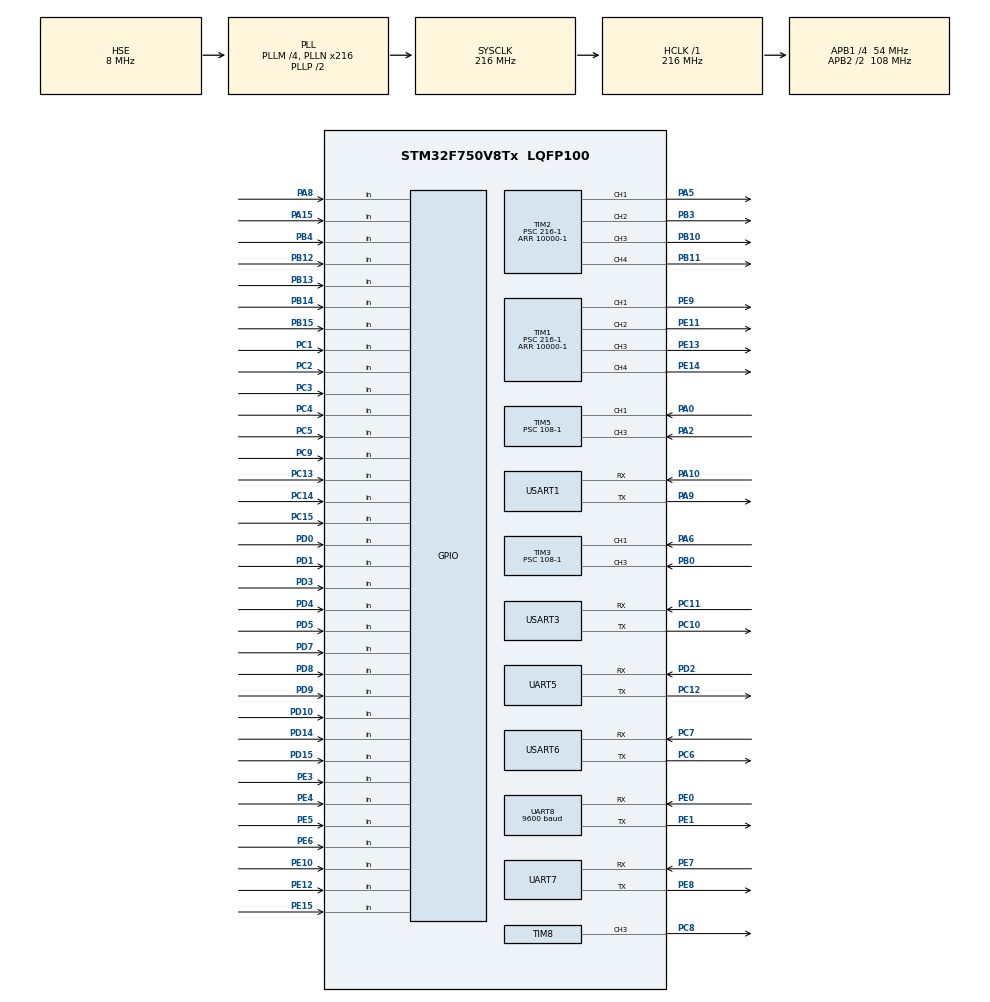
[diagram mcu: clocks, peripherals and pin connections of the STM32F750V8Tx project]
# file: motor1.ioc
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Mcu.Family=STM32F7
Mcu.Name=STM32F750V8Tx
Mcu.Package=LQFP100
NVIC.PriorityGroup=NVIC_PRIORITYGROUP_4
NVIC.TIM3_IRQn=true\:2\:0\:true\:false\:true\:true\:true\:true
NVIC.TIM5_IRQn=true\:2\:0\:true\:false\:true\:true\:true\:true
NVIC.TIM6_DAC_IRQn=true\:2\:0\:true\:false\:true\:true\:true\:true
NVIC.UART5_IRQn=true\:1\:0\:true\:false\:true\:true\:true\:true
NVIC.UART7_IRQn=true\:0\:0\:false\:false\:true\:true\:true\:true
NVIC.UART8_IRQn=true\:0\:0\:false\:false\:true\:true\:true\:true
NVIC.USART1_IRQn=true\:2\:0\:true\:false\:true\:true\:true\:true
NVIC.USART3_IRQn=true\:0\:0\:false\:false\:true\:true\:true\:true
NVIC.USART6_IRQn=true\:1\:0\:true\:false\:true\:true\:true\:true
PA0/WKUP.GPIO_PuPd=GPIO_PULLDOWN
PA0/WKUP.Signal=S_TIM5_CH1
PA10.Mode=Asynchronous
PA10.Signal=USART1_RX
PA13.Mode=Serial_Wire
PA13.Signal=SYS_JTMS-SWDIO
PA14.Mode=Serial_Wire
PA14.Signal=SYS_JTCK-SWCLK
PA15.Signal=GPIO_Input
PA2.GPIO_PuPd=GPIO_PULLDOWN
PA2.Signal=S_TIM5_CH3
PA5.Signal=S_TIM2_CH1_ETR
PA6.GPIO_PuPd=GPIO_PULLDOWN
PA6.Signal=S_TIM3_CH1
PA8.Signal=GPIO_Input
PA9.Mode=Asynchronous
PA9.Signal=USART1_TX
PB0.Signal=S_TIM3_CH3
PB10.Signal=S_TIM2_CH3
PB11.Signal=S_TIM2_CH4
PB12.Signal=GPIO_Input
PB13.Signal=GPIO_Input
PB14.Signal=GPIO_Input
PB15.Signal=GPIO_Input
PB3.Signal=S_TIM2_CH2
PB4.GPIO_PuPd=GPIO_PULLUP
PB4.Signal=GPIO_Input
PC1.Signal=GPIO_Input
PC10.Mode=Asynchronous
PC10.Signal=USART3_TX
PC11.Mode=Asynchronous
PC11.Signal=USART3_RX
PC12.Mode=Asynchronous
PC12.Signal=UART5_TX
PC13.GPIO_PuPd=GPIO_PULLDOWN
PC13.Signal=GPIO_Input
PC14/OSC32_IN.GPIO_PuPd=GPIO_PULLDOWN
PC14/OSC32_IN.Signal=GPIO_Input
PC15/OSC32_OUT.Signal=GPIO_Input
PC2.Signal=GPIO_Input
PC3.Signal=GPIO_Input
PC4.Signal=GPIO_Input
PC5.Signal=GPIO_Input
PC6.Mode=Asynchronous
PC6.Signal=USART6_TX
PC7.Mode=Asynchronous
PC7.Signal=USART6_RX
PC8.Signal=S_TIM8_CH3
PC9.Signal=GPIO_Input
PD0.Signal=GPIO_Input
PD1.Signal=GPIO_Input
PD10.Signal=GPIO_Input
PD14.Signal=GPIO_Input
PD15.Signal=GPIO_Input
PD2.Mode=Asynchronous
PD2.Signal=UART5_RX
PD3.Signal=GPIO_Input
PD4.Signal=GPIO_Input
PD5.GPIO_PuPd=GPIO_PULLDOWN
PD5.Signal=GPIO_Input
PD7.Signal=GPIO_Input
PD8.Signal=GPIO_Input
PD9.Signal=GPIO_Input
PE0.Mode=Asynchronous
PE0.Signal=UART8_RX
PE1.Mode=Asynchronous
PE1.Signal=UART8_TX
PE10.Signal=GPIO_Input
PE11.Signal=S_TIM1_CH2
PE12.Signal=GPIO_Input
PE13.Signal=S_TIM1_CH3
PE14.Signal=S_TIM1_CH4
PE15.Signal=GPIO_Input
PE3.GPIO_PuPd=GPIO_PULLDOWN
PE3.Signal=GPIO_Input
PE4.GPIO_PuPd=GPIO_PULLDOWN
PE4.Signal=GPIO_Input
PE5.GPIO_PuPd=GPIO_PULLDOWN
PE5.Signal=GPIO_Input
PE6.GPIO_PuPd=GPIO_PULLDOWN
PE6.Signal=GPIO_Input
PE7.Mode=Asynchronous
PE7.Signal=UART7_RX
PE8.Mode=Asynchronous
PE8.Signal=UART7_TX
PE9.Signal=S_TIM1_CH1
PH0/OSC_IN.Mode=HSE-External-Oscillator
PH0/OSC_IN.Signal=RCC_OSC_IN
PH1/OSC_OUT.Mode=HSE-External-Oscillator
PH1/OSC_OUT.Signal=RCC_OSC_OUT
ProjectManager.HeapSize=0x200
ProjectManager.StackSize=0x400
ProjectManager.TargetToolchain=MDK-ARM V5
RCC.AHBFreq_Value=216000000
RCC.APB1CLKDivider=RCC_HCLK_DIV4
RCC.APB1Freq_Value=54000000
RCC.APB1TimFreq_Value=108000000
RCC.APB2CLKDivider=RCC_HCLK_DIV2
RCC.APB2Freq_Value=108000000
RCC.APB2TimFreq_Value=216000000
RCC.CortexFreq_Value=216000000
RCC.HCLKFreq_Value=216000000
RCC.HSE_VALUE=8000000
RCC.HSI_VALUE=16000000
RCC.LSE_VALUE=32768
RCC.PLLM=4
RCC.PLLN=216
RCC.PLLSourceVirtual=RCC_PLLSOURCE_HSE
RCC.SYSCLKFreq_VALUE=216000000
RCC.SYSCLKSource=RCC_SYSCLKSOURCE_PLLCLK
RCC.USBFreq_Value=216000000
RCC.VCOOutputFreq_Value=432000000
SH.S_TIM1_CH1.0=TIM1_CH1,PWM Generation1 CH1
SH.S_TIM1_CH2.0=TIM1_CH2,PWM Generation2 CH2
SH.S_TIM1_CH3.0=TIM1_CH3,PWM Generation3 CH3
SH.S_TIM1_CH4.0=TIM1_CH4,PWM Generation4 CH4
SH.S_TIM2_CH1_ETR.0=TIM2_CH1,PWM Generation1 CH1
SH.S_TIM2_CH2.0=TIM2_CH2,PWM Generation2 CH2
SH.S_TIM2_CH3.0=TIM2_CH3,PWM Generation3 CH3
SH.S_TIM2_CH4.0=TIM2_CH4,PWM Generation4 CH4
SH.S_TIM3_CH1.0=TIM3_CH1,Input_Capture1_from_TI1
SH.S_TIM3_CH3.0=TIM3_CH3,Input_Capture3_from_TI3
SH.S_TIM5_CH1.0=TIM5_CH1,Input_Capture1_from_TI1
SH.S_TIM5_CH3.0=TIM5_CH3,Input_Capture3_from_TI3
SH.S_TIM8_CH3.0=TIM8_CH3,PWM Generation3 CH3
TIM1.Channel-PWM\ Generation1\ CH1=TIM_CHANNEL_1
TIM1.Channel-PWM\ Generation2\ CH2=TIM_CHANNEL_2
TIM1.Channel-PWM\ Generation3\ CH3=TIM_CHANNEL_3
TIM1.Channel-PWM\ Generation4\ CH4=TIM_CHANNEL_4
TIM1.Period=10000-1
TIM1.Prescaler=216-1
TIM2.Channel-PWM\ Generation1\ CH1=TIM_CHANNEL_1
TIM2.Channel-PWM\ Generation2\ CH2=TIM_CHANNEL_2
TIM2.Channel-PWM\ Generation3\ CH3=TIM_CHANNEL_3
TIM2.Channel-PWM\ Generation4\ CH4=TIM_CHANNEL_4
TIM2.Period=10000-1
TIM2.Prescaler=216-1
TIM3.AutoReloadPreload=TIM_AUTORELOAD_PRELOAD_ENABLE
TIM3.Channel-Input_Capture1_from_TI1=TIM_CHANNEL_1
TIM3.Channel-Input_Capture3_from_TI3=TIM_CHANNEL_3
TIM3.Prescaler=108-1
TIM5.AutoReloadPreload=TIM_AUTORELOAD_PRELOAD_ENABLE
TIM5.Channel-Input_Capture1_from_TI1=TIM_CHANNEL_1
TIM5.Channel-Input_Capture3_from_TI3=TIM_CHANNEL_3
TIM5.Period=65535
TIM5.Prescaler=108-1
TIM6.AutoReloadPreload=TIM_AUTORELOAD_PRELOAD_ENABLE
TIM6.Period=10000
TIM6.Prescaler=108-1
TIM8.AutoReloadPreload=TIM_AUTORELOAD_PRELOAD_ENABLE
TIM8.Channel-PWM\ Generation3\ CH3=TIM_CHANNEL_3
TIM8.Period=10000-1
TIM8.Prescaler=216-1
UART8.BaudRate=9600
USART1.VirtualMode-Asynchronous=VM_ASYNC
USART3.VirtualMode-Asynchronous=VM_ASYNC
USART6.VirtualMode=VM_ASYNC
VP_TIM1_VS_ClockSourceINT.Mode=Internal
VP_TIM2_VS_ClockSourceINT.Mode=Internal
VP_TIM6_VS_ClockSourceINT.Mode=Enable_Timer
VP_TIM8_VS_ClockSourceINT.Mode=Internal
board=custom

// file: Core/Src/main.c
/* USER CODE BEGIN Header */
/**
  ******************************************************************************
  * @file           : main.c
  * @brief          : Main program body
  ******************************************************************************
  * @attention
  *
  * Copyright (c) 2022 STMicroelectronics.
  * All rights reserved.
  *
  * This software is licensed under terms that can be found in the LICENSE file
  * in the root directory of this software component.
  * If no LICENSE file comes with this software, it is provided AS-IS.
  *
  ******************************************************************************
  */
/* USER CODE END Header */
#include "main.h"
#include "tim.h"
#include "usart.h"
#include "gpio.h"

/* USER CODE BEGIN Includes */
#include<stdio.h>
#include "wheel_config.h"
#include "usmart.h"
#include "wheel_encode.h"
#include "wheel_task.h"
#include "wheel.h"
#include "bar.h"
#include "imu.h"
#include "imu_task.h"
#include "time_delay.h"
#include "track_task.h"
#include "m294.h"
#include "snow.h"
#include "journey.h"
#include "turn_task.h"
#include "lsc.h"
#include "openmv.h"
#include "stack_transfer.h"
#include "qrcode.h"
/* USER CODE END Includes */

/* USER CODE BEGIN PTD */

 /* 初始化四个电机并使能*/
  extern motor_t motor1;
  extern motor_t motor2;
  extern motor_t motor3;
  extern motor_t motor4;

	extern ATTITUDE_t  attitude;

	extern pid_data_t imu_pid_data;

  //motor_t motor1;
  //motor_t motor2;
  //motor_t motor3;
  //motor_t motor4;

/* USER CODE END PTD */

/* USER CODE BEGIN PD */
uint8_t Buffer;
uint8_t M294_Rx_buffer;
uint8_t qrcode_Rx_buffer;
uint8_t openmv_Rx_buffer;
extern int encoder;
extern double motor_target[5];
extern pid_data_t motor1_pid_data;
extern pid_data_t motor2_pid_data;
extern pid_data_t motor3_pid_data;
extern pid_data_t motor4_pid_data;
extern pid_data_t track_pid_data;
extern TRACKINGBOARD_t row_bar;
extern TRACKINGBOARD_t vertical_bar;
extern Steering_t turnover_steering;
extern uint8_t putBallOrder[9];

/* USER CODE END PD */

void SystemClock_Config(void);

int main(void)
{

  /* MCU Configuration--------------------------------------------------------*/

  /* Reset of all peripherals, Initializes the Flash interface and the Systick. */
  HAL_Init();

  /* Configure the system clock */
  SystemClock_Config();

  /* Initialize all configured peripherals */
  MX_GPIO_Init();
  MX_TIM1_Init();
  MX_TIM3_Init();
  MX_TIM2_Init();
  MX_TIM5_Init();
  MX_TIM6_Init();
  MX_USART1_UART_Init();
  MX_TIM8_Init();
  MX_UART5_Init();
  MX_USART6_UART_Init();
  MX_UART8_Init();
  MX_UART7_Init();
  MX_USART3_UART_Init();
  MX_USART3_UART_Init();
  /* USER CODE BEGIN 2 */
  //初始化函数和使能函数等顺序要注意
	HAL_UART_Receive_IT(&huart1,&Buffer,1);
	usmart_dev.init(108); 		    //初始化USMART testtest

	HAL_UART_Receive_IT(&huart6,&M294_Rx_buffer, 1);
	HAL_UART_Receive_IT(&huart7,&qrcode_Rx_buffer, 1);

	HAL_UART_Receive_IT(&huart3,OPENMV_Rx_BUF,5);   //串口测试

	motor1_Enable(&motor1);
  motor2_Enable(&motor2);
  motor3_Enable(&motor3);
  motor4_Enable(&motor4);
	imu_pid_data_init(&imu_pid_data);
	motor_pid_data_init( &motor1_pid_data);
	motor_pid_data_init(&motor2_pid_data);
  motor_pid_data_init(&motor3_pid_data);
  motor_pid_data_init(&motor4_pid_data);
	track_pid_data_init(&track_pid_data);
	receive_imu901_Init(&attitude);//这里使能了串口5中断	`
	Steering_Init(&turnover_steering);
	delay_init();

//	set_track_status(&row_bar,true);
//	set_track_status(&vertical_bar,true);

	HAL_TIM_Base_Start_IT(&htim6);//调轮子pid时注释掉
	imu_calibration();
	delay_ms(1000);
	set_imu_status(&attitude,true);

  /* USER CODE END 2 */

  /* Infinite loop */
	/* USER CODE BEGIN WHILE */
	span_init();
	blue_or_red();

  while (1)
  {
    /* USER CODE END WHILE */

  }
}

void SystemClock_Config(void)
{
  RCC_OscInitTypeDef RCC_OscInitStruct = {0};
  RCC_ClkInitTypeDef RCC_ClkInitStruct = {0};

  /** Configure the main internal regulator output voltage
  */
  __HAL_RCC_PWR_CLK_ENABLE();
  __HAL_PWR_VOLTAGESCALING_CONFIG(PWR_REGULATOR_VOLTAGE_SCALE1);

  /** Initializes the RCC Oscillators according to the specified parameters
  * in the RCC_OscInitTypeDef structure.
  */
  RCC_OscInitStruct.OscillatorType = RCC_OSCILLATORTYPE_HSE;
  RCC_OscInitStruct.HSEState = RCC_HSE_ON;
  RCC_OscInitStruct.PLL.PLLState = RCC_PLL_ON;
  RCC_OscInitStruct.PLL.PLLSource = RCC_PLLSOURCE_HSE;
  RCC_OscInitStruct.PLL.PLLM = 4;
  RCC_OscInitStruct.PLL.PLLN = 216;
  RCC_OscInitStruct.PLL.PLLP = RCC_PLLP_DIV2;
  RCC_OscInitStruct.PLL.PLLQ = 2;
  if (HAL_RCC_OscConfig(&RCC_OscInitStruct) != HAL_OK)
  {
    Error_Handler();
  }

  /** Activate the Over-Drive mode
  */
  if (HAL_PWREx_EnableOverDrive() != HAL_OK)
  {
    Error_Handler();
  }

  /** Initializes the CPU, AHB and APB buses clocks
  */
  RCC_ClkInitStruct.ClockType = RCC_CLOCKTYPE_HCLK|RCC_CLOCKTYPE_SYSCLK
                              |RCC_CLOCKTYPE_PCLK1|RCC_CLOCKTYPE_PCLK2;
  RCC_ClkInitStruct.SYSCLKSource = RCC_SYSCLKSOURCE_PLLCLK;
  RCC_ClkInitStruct.AHBCLKDivider = RCC_SYSCLK_DIV1;
  RCC_ClkInitStruct.APB1CLKDivider = RCC_HCLK_DIV4;
  RCC_ClkInitStruct.APB2CLKDivider = RCC_HCLK_DIV2;

  if (HAL_RCC_ClockConfig(&RCC_ClkInitStruct, FLASH_LATENCY_7) != HAL_OK)
  {
    Error_Handler();
  }
}

void Error_Handler(void)
{
  __disable_irq();
  while (1)
  {
  }
}
